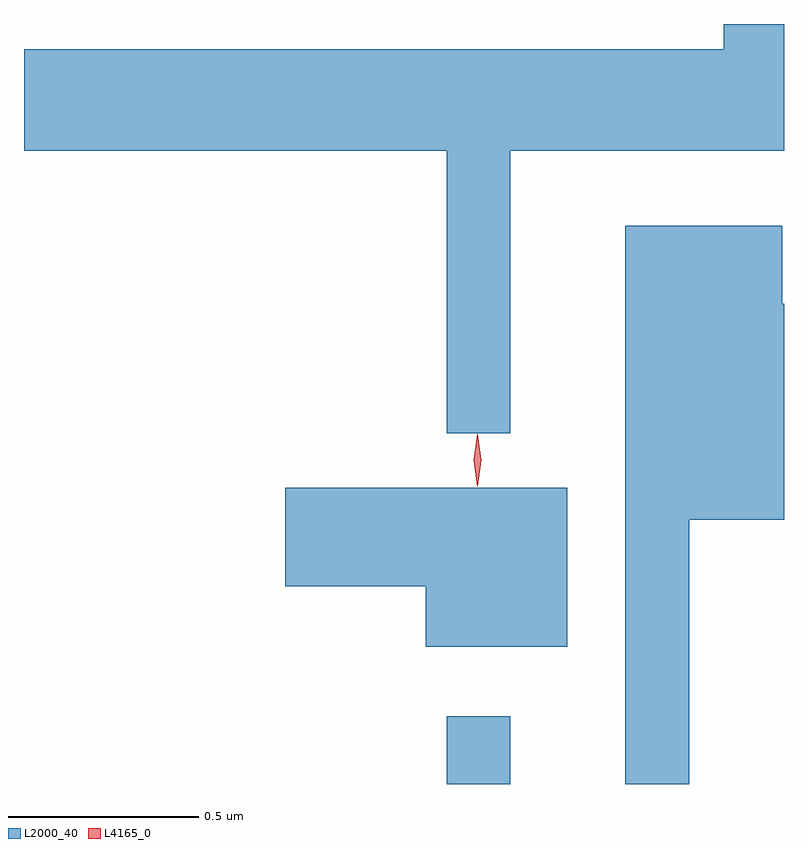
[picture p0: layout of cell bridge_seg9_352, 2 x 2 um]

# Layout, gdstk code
import gdstk
lib = gdstk.Library(unit=1e-6, precision=1e-09)
def R(c, l, rs):  # rectangles x0, y0, x1, y1
    for r in rs: c.add(gdstk.rectangle(r[:2], r[2:], *l))
def P(c, l, *ps):  # polygons
    for p in ps: c.add(gdstk.Polygon(p, *l))
L2000_40 = (2000, 40)
L4165_0 = (4165, 0)

bridge_seg9_352 = lib.new_cell('bridge_seg9_352')
R(bridge_seg9_352, L2000_40, [(758.141,2023.45,758.309,2023.628)])
P(bridge_seg9_352, L2000_40, [(758.309,2025.116),(759.029,2025.116),(759.029,2025.45),(758.871,2025.45),(758.871,2025.384),(757.029,2025.384),(757.029,2025.116),(758.141,2025.116),(758.141,2024.373),(758.309,2024.373)],
  [(758.779,2024.146),(759.029,2024.146),(759.029,2024.714),(759.024,2024.714),(759.024,2024.919),(758.611,2024.919),(758.611,2023.45),(758.779,2023.45)],
  [(758.459,2024.229),(757.716,2024.229),(757.716,2023.971),(758.086,2023.971),(758.086,2023.811),(758.459,2023.811)])
P(bridge_seg9_352, L4165_0, [(758.222,2024.24),(758.222,2024.24),(758.212,2024.303),(758.222,2024.366),(758.222,2024.367),(758.223,2024.366),(758.232,2024.303),(758.223,2024.24)],
  [(758.222,2024.234),(758.222,2024.234),(758.212,2024.302),(758.222,2024.37),(758.222,2024.37),(758.223,2024.37),(758.232,2024.302),(758.223,2024.234)])

lib.write_gds('bridge_seg9_352.gds')
